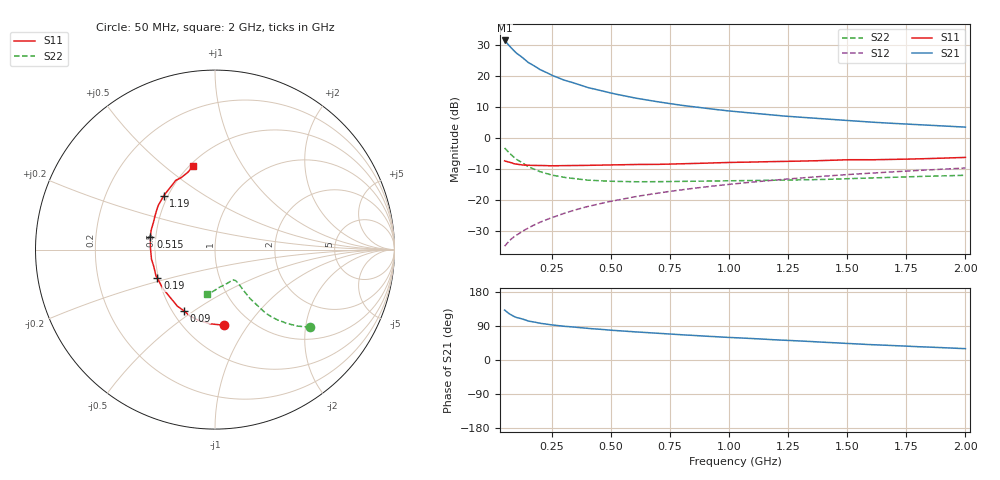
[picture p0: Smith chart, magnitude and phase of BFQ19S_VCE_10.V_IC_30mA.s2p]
! Infineon Technologies  Discrete & RF Semiconductors
! BFQ19S
! VCE =  10. V,  IC =  30 mA
! Common Emitter S-Parameters:  Jan 2016
# GHz  S  MA  R  50
!  f  S11  S21  S12  S22
! GHz  MAG  ANG  MAG  ANG  MAG  ANG  MAG  ANG
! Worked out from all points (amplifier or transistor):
!   391 points, 50 MHz to 2 GHz, reference 50 ohm
!   highest |S21| = 31.3 dB at 50 MHz (marker M1)
!   |S21| within 3 dB of that: start of sweep to 85.84 MHz
!   unconditionally stable (mu >= 1): 369.4 MHz to 1.472 GHz
!   at 375 MHz: K = 1.00, MAG = 19.5 dB, |S12| = -22.7 dB
!   at 1.025 GHz: K = 1.03, MAG = 10.6 dB, |S12| = -14.8 dB
!   at 2 GHz: K = 0.96, MSG = 6.6 dB, |S12| = -9.7 dB
!   S11 on the Smith chart (normalised r, x): 50 MHz: 0.76, -0.78; 90 MHz: 0.57, -0.45; 190 MHz: 0.49, -0.18; 515 MHz: 0.47, +0.08; 1.19 GHz: 0.48, +0.34; 2 GHz: 0.52, +0.63
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0.05  0.4251 -82.9  36.82 131.8  0.018 65.6  0.6845 -39.2
0.06  0.4143 -93.6  33.29 126.4  0.0198 64.3  0.6227 -43.1
0.07  0.4048 -103.1  30.15 121.9  0.0221 63.3  0.5693 -46.0
0.08  0.395 -110.9  27.46 118.1  0.0237 62.8  0.5235 -48.4
0.09  0.3819 -117.3  25.1 114.9  0.0255 62.9  0.4838 -50.2
0.1  0.3786 -123.6  23.04 112.2  0.027 63.1  0.4497 -51.5
0.15  0.3624 -142.9  16.27 102.8  0.0353 65.3  0.3411 -54.3
0.19  0.3588 -153.5  13.25 98.3  0.042 67.0  0.2956 -54.8
0.2  0.3598 -156.2  12.52 96.8  0.0437 67.3  0.2842 -55.0
0.25  0.3537 -164.6  10.12 92.5  0.0518 68.9  0.2505 -55.2
0.3  0.358 -171.4  8.515 89.0  0.0604 69.5  0.2306 -55.4
0.375  0.3585 -179.2  6.962 85.1  0.0735 69.9  0.2138 -56.1
0.4  0.3601 178.2  6.454 83.4  0.0779 70.0  0.2082 -56.3
0.515  0.3668 168.6  5.09 78.0  0.0976 69.8  0.1988 -58.6
0.6  0.3718 163.3  4.374 74.3  0.1121 69.1  0.1957 -60.8
0.7  0.3733 157.8  3.78 70.4  0.1291 68.2  0.1965 -63.9
0.9  0.3902 147.3  2.976 62.9  0.1619 65.9  0.2002 -70.5
1.03  0.4024 140.6  2.635 58.7  0.1826 63.9  0.2034 -74.6
1.19  0.4138 133.7  2.302 53.5  0.2078 61.7  0.2069 -79.3
1.35  0.425 126.6  2.073 48.6  0.2324 59.4  0.2117 -83.8
1.675  0.4471 113.2  1.721 38.6  0.2803 54.3  0.2303 -91.7
2  0.4827 104.6  1.485 29.9  0.3256 49.6  0.249 -100.7
